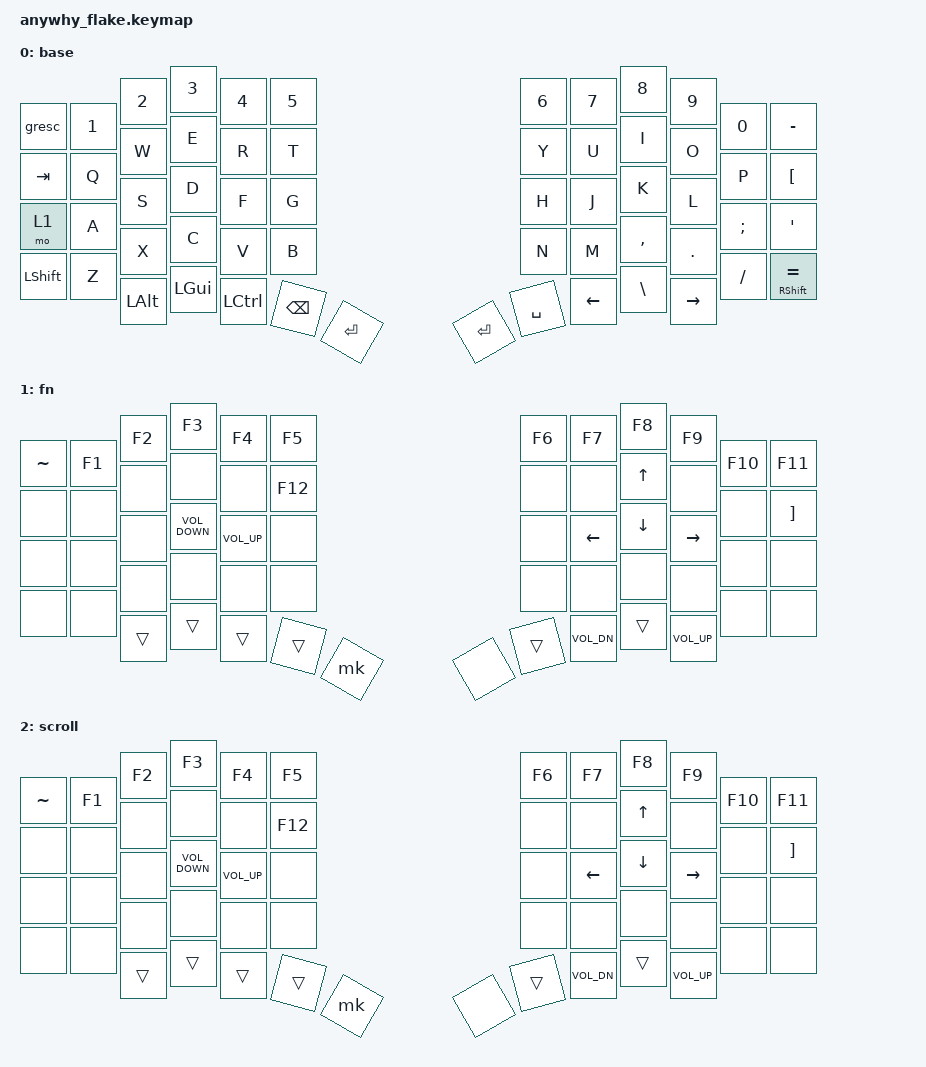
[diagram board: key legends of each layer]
#include <behaviors.dtsi>
#include <dt-bindings/zmk/keys.h>

#include "zmk-helpers/helper.h"

#include <dt-bindings/zmk/bt.h>
#include <dt-bindings/zmk/ext_power.h>
#include <dt-bindings/zmk/outputs.h>

/*
 * Defines to enable/disable features
 *
 * These defines allow us to conditionally enable and disable parts of the keymap config.
 *
 * For example, if we decide to build the firmware without the mouse features, we can
 * disable all the config options that rely on those forks and modules without having
 * to edit the entire keymap file manually every time.
 */

#define HAS_MOUSE_KEYS
#define HAS_MOUSE_TP

#ifdef HAS_MOUSE_KEYS
  #include <dt-bindings/zmk/mouse.h>
  #include <behaviors/mouse_keys.dtsi>
#endif  // HAS_MOUSE_KEYS

#ifdef HAS_MOUSE_TP
  // We store the trackpoint settings in a separate file
  // to make organization a little easier.
  #include "include/mouse_tp.dtsi"
#endif  // HAS_MOUSE_TP


/ {
    combos { compatible = "zmk,combos"; };

    macros {
        mk: mk {
            compatible = "zmk,behavior-macro";
            #binding-cells = <0>;
            bindings = <&kp P &kp H &kp I &kp M &kp M &kp E &kp O &kp M &kp E &kp O &kp DOT &kp C &kp O &kp M>;
            label = "MK";
            wait-ms = <1>;
            tap-ms = <1>;
        };
    };

    keymap {
        compatible = "zmk,keymap";

        base {
            bindings = <
&gresc     &kp N1    &kp N2    &kp N3     &kp N4    &kp N5       &kp N6     &kp N7     &kp N8     &kp N9    &kp N0     &kp MINUS
&kp TAB    &kp Q     &kp W     &kp E      &kp R     &kp T        &kp Y      &kp U      &kp I      &kp O     &kp P      &kp LBKT
&mo 1      &kp A     &kp S     &kp D      &kp F     &kp G        &kp H      &kp J      &kp K      &kp L     &kp SEMI   &kp APOS
&kp LSHFT  &kp Z     &kp X     &kp C      &kp V     &kp B        &kp N      &kp M      &kp COMMA  &kp DOT   &kp FSLH   &mt RIGHT_SHIFT EQUAL
           &kp LALT  &kp LGUI  &kp LCTRL  &kp BSPC  &kp ENTER    &kp ENTER  &kp SPACE  &kp LEFT   &kp BSLH  &kp RIGHT
            >;
        };

        fn {
            bindings = <
&kp TILDE  &kp F1  &kp F2  &kp F3             &kp F4           &kp F5     &kp F6  &kp F7    &kp F8        &kp F9     &kp F10          &kp F11
&none      &none   &none   &none              &none            &kp F12    &none   &none     &kp UP        &none      &none            &kp RIGHT_BRACKET
&none      &none   &none   &kp C_VOLUME_DOWN  &kp C_VOLUME_UP  &none      &none   &kp LEFT  &kp DOWN      &kp RIGHT  &none            &none
&none      &none   &none   &none              &none            &none      &none   &none     &none         &none      &none            &none
           &trans  &trans  &trans             &trans           &mk        &none   &trans    &kp C_VOL_DN  &trans     &kp C_VOLUME_UP
            >;
        };

        scroll {
            bindings = <
&kp TILDE  &kp F1  &kp F2  &kp F3             &kp F4           &kp F5     &kp F6  &kp F7    &kp F8        &kp F9     &kp F10          &kp F11
&none      &none   &none   &none              &none            &kp F12    &none   &none     &kp UP        &none      &none            &kp RIGHT_BRACKET
&none      &none   &none   &kp C_VOLUME_DOWN  &kp C_VOLUME_UP  &none      &none   &kp LEFT  &kp DOWN      &kp RIGHT  &none            &none
&none      &none   &none   &none              &none            &none      &none   &none     &none         &none      &none            &none
           &trans  &trans  &trans             &trans           &mk        &none   &trans    &kp C_VOL_DN  &trans     &kp C_VOLUME_UP
            >;
        };
    };
};
